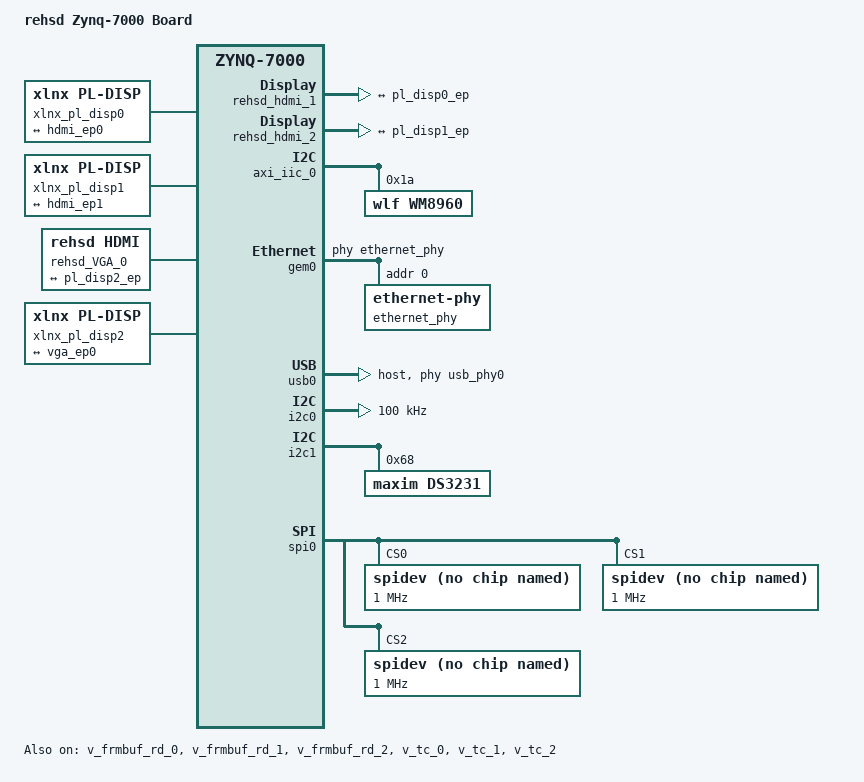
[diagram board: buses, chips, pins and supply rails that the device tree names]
/include/ "system-conf.dtsi"
#include <dt-bindings/gpio/gpio.h>
/ {
	model = "rehsd Zynq-7000 Board";
	compatible = "rehsd,zynq-7000", "xlnx,zynq-7000";
	
	chosen {
		bootargs = "console=ttyPS0,115200 earlyprintk root=/dev/mmcblk0p2 rw rootwait uio_pdrv_genirq.of_id=generic-uio cma=256M video=HDMI-A-1:1280x720M-32@60 video=HDMI-A-2:1280x720M-32@60 video=VGA-1:1280x720M-32@60 fbcon=map:0";
		
		//cma=256M@0x30000000 (currently configured in petalinux-config; bootargs should override)
		//video=HDMI-A-1:1280x720M-32@60 video=HDMI-A-2:1280x720M-32@60 video=VGA-1:640x480M-32@60 fbcon=map:0

		reserved-memory {
			#address-cells = <1>;
			#size-cells = <1>;
			ranges;

			framebuffer0: framebuffer0@20000000 {
				reg = <0x20000000 0x00800000>; // 8 MB for framebuffer
				no-map;
			};
			
			framebuffer1: framebuffer1@20800000 {
				reg = <0x20800000 0x00800000>; // 8 MB for framebuffer
				no-map;
			};

			framebuffer2: framebuffer2@21000000 {
				reg = <0x21000000 0x00800000>; // 8 MB for framebuffer
				no-map;
			};
		};

	};
	
	usb_phy0: usb_phy@0 {
		#phy-cells = <0>;
		compatible = "ulpi-phy";
		reg = <0xe0002000 0x1000>;
		view-port = <0x0170>;
		reset-gpios = <&gpio0 46 1>;
		drv-vbus;
	};

};

&amba_pl {

	rehsd_hdmi_1 {
		compatible = "rehsd,hdmi";
		clocks = <&misc_clk_1>;
		clk = "misc_clk_1";
		clock-names = "clk";
		status = "okay";
		rehsd,edid-i2c = <&i2c0>;
		port@0 { 
			hdmi_ep0: endpoint { 
				remote-endpoint = <&pl_disp0_ep>; 
			}; 
		}; 
	};

	xlnx_pl_disp0 {
		compatible = "xlnx,pl-disp";
		device-id = <0xaa01>;
		dmas = <&v_frmbuf_rd_0 0>; 	
		dma-names = "dma0"; 
		xlnx,vformat = "XR24";		//XR24
		xlnx,bridge = <&v_tc_0>; 
		status = "okay";
		port@0 { 
			pl_disp0_ep: endpoint { 
				remote-endpoint = <&hdmi_ep0>; 
			}; 
		};
	};

	rehsd_hdmi_2 {
		compatible = "rehsd,hdmi";
		clocks = <&misc_clk_1>;
		clk = "misc_clk_1";
		clock-names = "clk";
		status = "okay";
		//rehsd,edid-i2c = <&i2c0>;
		port@1 { 
			hdmi_ep1: endpoint { 
				remote-endpoint = <&pl_disp1_ep>; 
			}; 
		}; 
	};

	xlnx_pl_disp1 {
		compatible = "xlnx,pl-disp";
		device-id = <0xaa02>;
		dmas = <&v_frmbuf_rd_1 0>; 	
		dma-names = "dma0"; 
		xlnx,vformat = "XR24";		//XR24
		xlnx,bridge = <&v_tc_1>; 
		status = "okay";
		port@1 { 
			pl_disp1_ep: endpoint { 
				remote-endpoint = <&hdmi_ep1>; 
			}; 
		};
	};

	VGA_clock: vga_clock@0 {
		#clock-cells = <0>;
		compatible = "fixed-clock";
		clock-frequency = <25175000>;
		clock-output-names = "VGA_clock";
	};

	rehsd_VGA_0 {
		compatible = "rehsd,hdmi";
		clocks = <&VGA_clock>;
		clk = "VGA_clock";
		clock-names = "clk";
		status = "okay";
		//rehsd,edid-i2c = <&i2c0>;
		port@2 { 
			vga_ep0: endpoint { 
				remote-endpoint = <&pl_disp2_ep>; 
			}; 
		}; 
	};

	xlnx_pl_disp2 {
		compatible = "xlnx,pl-disp";
		device-id = <0xaa03>;
		dmas = <&v_frmbuf_rd_2 0>; 	
		dma-names = "dma0"; 
		xlnx,vformat = "XR24";		//XR24
		xlnx,bridge = <&v_tc_2>; 
		status = "okay";
		port@2 { 
			pl_disp2_ep: endpoint { 
				remote-endpoint = <&vga_ep0>; 
			}; 
		};
	};	

	axi_iic_0: i2c@81600000 {
		interrupts = < 0 36 4 >;
		xlnx,iic-freq-khz = <100>;
		compatible = "xlnx,axi-iic-2.1" , "xlnx,xps-iic-2.00.a";
		xlnx,scl-inertial-delay = <0>;
		interrupt-parent = <&intc>;
		xlnx,rable = <0>;
		xlnx,ip-name = "axi_iic";
		xlnx,disable-setup-violation-check = <0>;
		reg = <0x81600000 0x10000>;
		clocks = <&misc_clk_1>;
		xlnx,gpo-width = <1>;
		xlnx,edk-iptype = "PERIPHERAL";
		xlnx,static-timing-reg-width = <0>;
		xlnx,sda-level = <1>;
		status = "okay";
		clock-names = "s_axi_aclk";
		xlnx,ten-bit-adr = <0>;
		xlnx,default-value = <0x0>;
		interrupt-names = "iic2intc_irpt";
		xlnx,iic-board-interface = "Custom";
		xlnx,timing-reg-width = <32>;
		xlnx,iic-freq = <100000>;
		xlnx,smbus-pmbus-host = <0>;
		xlnx,name = "axi_iic_0";
		xlnx,axi-aclk-freq-mhz = <48>;
		xlnx,sda-inertial-delay = <0>;
		wm8960: wm8960@1a {
			#sound-dai-cells = <0>;   // only single DAI
			compatible = "wlf,wm8960";
			clock-names ="mclk";
			clocks =<&misc_clk_0>;
			assigned-clocks = <&misc_clk_0>;
			assigned-clock-rates = <24000000>;
			reg = <0x1a>;		//wm8960 datasheet lists 0x34. the reg value is shifted left by one. 0x1A << 1 = 0x34
		};
	};	
	audio_formatter_0: audio_formatter@83c00000 {
		audio-codec = <&wm8960>;
		#sound-dai-cells = <0>;
		status = "okay";
	}; 
	i2s_receiver_0: i2s_receiver@83c10000 {
		audio-codec = <&wm8960>;
		#sound-dai-cells = <0>;
	};
	i2s_transmitter_0: i2s_transmitter@83c20000 {
		audio-codec = <&wm8960>;
		#sound-dai-cells = <0>;
	};
};



&axi_gpio_hdmi {
	compatible = "generic-uio";	
};


&axi_gpio_0 {
		#gpio-cells = <2>;
		clock-names = "s_axi_aclk";
		clocks = <&misc_clk_1>;
		compatible = "xlnx,axi-gpio-2.0", "xlnx,xps-gpio-1.00.a";
		gpio-controller ;
		reg = <0x41210000 0x10000>;
		xlnx,all-inputs = <0x0>;
		xlnx,all-inputs-2 = <0x0>;
		xlnx,all-outputs = <0x1>;
		xlnx,all-outputs-2 = <0x0>;
		xlnx,dout-default = <0x00000000>;
		xlnx,dout-default-2 = <0x00000000>;
		xlnx,gpio-width = <0x1>;
		xlnx,gpio2-width = <0x20>;
		xlnx,interrupt-present = <0x0>;
		xlnx,is-dual = <0x0>;
		xlnx,tri-default = <0xFFFFFFFF>;
		xlnx,tri-default-2 = <0xFFFFFFFF>;
};

&axi_gpio_1 {
		#gpio-cells = <2>;
		clock-names = "s_axi_aclk";
		clocks = <&misc_clk_1>;
		compatible = "xlnx,axi-gpio-2.0", "xlnx,xps-gpio-1.00.a";
		gpio-controller ;
		reg = <0x40000000 0x10000>;
		xlnx,all-inputs = <0x0>;
		xlnx,all-inputs-2 = <0x0>;
		xlnx,all-outputs = <0x1>;
		xlnx,all-outputs-2 = <0x0>;
		xlnx,dout-default = <0x00000000>;
		xlnx,dout-default-2 = <0x00000000>;
		xlnx,gpio-width = <0x1>;
		xlnx,gpio2-width = <0x20>;
		xlnx,interrupt-present = <0x0>;
		xlnx,is-dual = <0x0>;
		xlnx,tri-default = <0xFFFFFFFF>;
		xlnx,tri-default-2 = <0xFFFFFFFF>;
};

&axi_gpio_2 {
		#gpio-cells = <2>;
		clock-names = "s_axi_aclk";
		clocks = <&misc_clk_1>;
		compatible = "xlnx,axi-gpio-2.0", "xlnx,xps-gpio-1.00.a";
		gpio-controller ;
		reg = <0x40030000 0x10000>;
		xlnx,all-inputs = <0x0>;
		xlnx,all-inputs-2 = <0x0>;
		xlnx,all-outputs = <0x1>;
		xlnx,all-outputs-2 = <0x0>;
		xlnx,dout-default = <0x00000000>;
		xlnx,dout-default-2 = <0x00000000>;
		xlnx,gpio-width = <0x1>;
		xlnx,gpio2-width = <0x20>;
		xlnx,interrupt-present = <0x0>;
		xlnx,is-dual = <0x0>;
		xlnx,tri-default = <0xFFFFFFFF>;
		xlnx,tri-default-2 = <0xFFFFFFFF>;
};

&v_frmbuf_rd_0 {
	#dma-cells = <1>;
	memory-region = <&framebuffer0>;
	clock-names = "ap_clk";
	//clocks = <&misc_clk_1>;
	clocks = <&clkc 15>;
	compatible = "xlnx,v-frmbuf-rd-3.0", "xlnx,axi-frmbuf-rd-v2.2";
	reg = <0x43c00000 0x10000>;      // Base address and size
	reset-gpios = <&axi_gpio_0 0 1>;
	gpio-names = "reset";		//"reset"
	interrupt-names = "interrupt";
	interrupt-parent = <&intc>;
	interrupts = <0 30 4>;          // Interrupts configuration
	xlnx,dma-align = <8>;
	xlnx,dma-addr-width = <32>;     // Width of the DMA address
	xlnx,max-height = <720>;        // Maximum vertical resolution
	xlnx,max-width = <1280>;        // Maximum horizontal resolution
	xlnx,pixels-per-clock = <1>;    // Pixels per clock cycle
	//xlnx,vid-formats = "rgb888", "xbgr8888", "xrgb8888", "bgr888", "abgr8888", "uyvy", "y8", "vuy888", "xvuy8888", "yuyv", "nv12", "nv16", "y_u_v8";
	status = "okay";                // Enable the node
};

&v_frmbuf_rd_1 {
	#dma-cells = <1>;
	memory-region = <&framebuffer1>;
	clock-names = "ap_clk";
	//clocks = <&misc_clk_1>;
	clocks = <&clkc 15>;
	compatible = "xlnx,v-frmbuf-rd-3.0", "xlnx,axi-frmbuf-rd-v2.2";
	reg = <0x40010000 0x10000>;      // Base address and size
	reset-gpios = <&axi_gpio_1 0 1>;
	gpio-names = "reset";		//"reset"
	interrupt-names = "interrupt";
	interrupt-parent = <&intc>;
	interrupts = <0 56 4>;          // Interrupts configuration
	xlnx,dma-align = <8>;
	xlnx,dma-addr-width = <32>;     // Width of the DMA address
	xlnx,max-height = <720>;        // Maximum vertical resolution
	xlnx,max-width = <1280>;        // Maximum horizontal resolution
	xlnx,pixels-per-clock = <1>;    // Pixels per clock cycle
	//xlnx,vid-formats = "rgb888", "xbgr8888", "xrgb8888", "bgr888", "abgr8888", "uyvy", "y8", "vuy888", "xvuy8888", "yuyv", "nv12", "nv16", "y_u_v8";
	status = "okay";                // Enable the node
};

&v_frmbuf_rd_2 {
	#dma-cells = <1>;
	memory-region = <&framebuffer2>;
	clock-names = "ap_clk";
	//clocks = <&misc_clk_1>;
	clocks = <&VGA_clock>;
	compatible = "xlnx,v-frmbuf-rd-3.0", "xlnx,axi-frmbuf-rd-v2.2";
	reg = <0x40040000 0x10000>;      // Base address and size
	reset-gpios = <&axi_gpio_2 0 1>;
	gpio-names = "reset";		//"reset"
	interrupt-names = "interrupt";
	interrupt-parent = <&intc>;
	interrupts = <0 57 4>;          // Interrupts configuration
	xlnx,dma-align = <8>;
	xlnx,dma-addr-width = <32>;     // Width of the DMA address
	xlnx,max-height = <720>;        // Maximum vertical resolution
	xlnx,max-width = <1280>;        // Maximum horizontal resolution
	xlnx,pixels-per-clock = <1>;    // Pixels per clock cycle
	//xlnx,vid-formats = "rgb888", "xbgr8888", "xrgb8888", "bgr888", "abgr8888", "uyvy", "y8", "vuy888", "xvuy8888", "yuyv", "nv12", "nv16", "y_u_v8";
	status = "okay";                // Enable the node
};

&v_tc_0 {
	compatible = "xlnx,v-tc-6.2" , "xlnx,v-tc-6.1" , "xlnx,bridge-v-tc-6.1";
	xlnx,pixels-per-clock = <1>; 
	reg = <0x43c10000 0x10000>;
	status = "okay";
};

&v_tc_1 {
	compatible = "xlnx,v-tc-6.2" , "xlnx,v-tc-6.1" , "xlnx,bridge-v-tc-6.1";
	xlnx,pixels-per-clock = <1>; 
	reg = <0x40020000 0x10000>;
	status = "okay";
};

&v_tc_2 {
	compatible = "xlnx,v-tc-6.2" , "xlnx,v-tc-6.1" , "xlnx,bridge-v-tc-6.1";
	xlnx,pixels-per-clock = <1>; 
	reg = <0x40050000 0x10000>;
	status = "okay";
};

&gem0 {
        phy-handle = <&ethernet_phy>;
        ethernet_phy: ethernet-phy@0 {
                device_type = "ethernet-phy";
                reg = <0>;
                /* dt-bindings/phy/realtek.h
                   #define REALTEK_LED_LINK10              BIT(0)
                   #define REALTEK_LED_LINK100             BIT(1)
                   #define REALTEK_LED_LINK1000            BIT(3)
                   #define REALTEK_LED_ACT                 BIT(4)
                   #define REALTEK_LED_DEFAULT             BIT(7)
                   LED0=10+A, LED1=100+A, LED2=1000+A */
                realtek,leds-config = <0x11 0x12 0x18>;
        };
};

&usb0 {
   	status = "okay";
   	dr_mode = "host";
   	usb-phy = <&usb_phy0>;

	/*
	usb2vga {
		compatible = "sis,sisfb";	// sisusb (x), sisfb (x), sisusbvga, sis ?
		vendor_id = <0x0711>;
		product_id = <0x0900>;
		status = "okay"; 
		framebuffer {
			label = "fb1"; 
			compatible = "linux,fb"; 
			linux,fb_base = <0x0>; 
		};
	};
	*/
};

&i2c0 {
    	clock-frequency = <100000>;
    	status = "okay";
};

&i2c1 {
	status = "okay";
	ds3231: rtc@68 {
		compatible = "maxim,ds3231";
		reg = <0x68>;
	};
};

&spi0 {
	is-decoded-cs = <0>;
	num-cs = <3>;
	bus-num = <0>;
	status = "okay";
	spidev@0x00 {
		//compatible = "spidev";
		//see https://www.hackster.io/whitney-knitter/spidev-tutorial-for-zynq-7000-fpga-devices-b5e399
		//see https://stackoverflow.com/questions/53634892/linux-spidev-why-it-shouldnt-be-directly-in-devicetree
		compatible = "rohm,dh2228fv";
		spi-max-frequency = <1000000>;    //max of 25 Mhz
		reg = <0>;
		
		//SPI mode
		spi-cpol = <0>;
		spi-cpha = <0>;
	};
	spidev@0x01 {
		compatible = "spidev";
		spi-max-frequency = <1000000>;
		reg = <1>;
	};
	spidev@0x02 {
		compatible = "spidev";
		spi-max-frequency = <1000000>;
		reg = <2>;
	};
};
